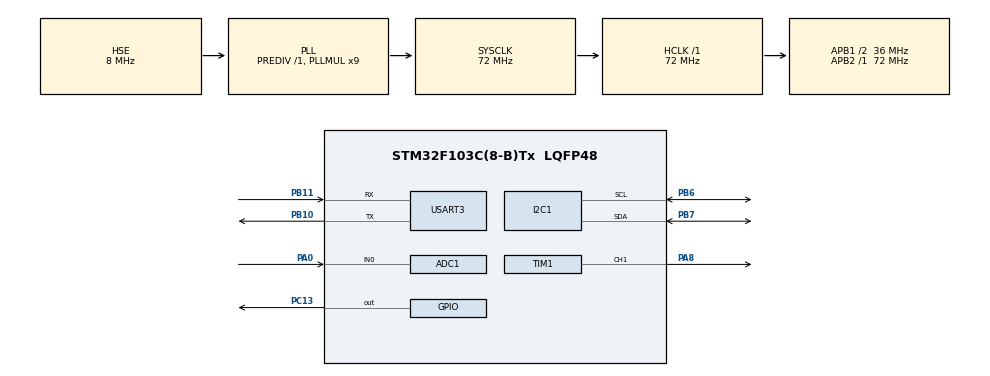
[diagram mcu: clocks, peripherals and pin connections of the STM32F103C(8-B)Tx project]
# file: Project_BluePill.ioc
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ADC1.Channel-0\#ChannelRegularConversion=ADC_CHANNEL_0
ADC1.NbrOfConversionFlag=1
ADC1.Rank-0\#ChannelRegularConversion=1
ADC1.SamplingTime-0\#ChannelRegularConversion=ADC_SAMPLETIME_1CYCLE_5
ADC1.master=1
Mcu.Family=STM32F1
Mcu.Name=STM32F103C(8-B)Tx
Mcu.Package=LQFP48
NVIC.PriorityGroup=NVIC_PRIORITYGROUP_4
NVIC.TIM1_BRK_IRQn=true\:0\:0\:false\:false\:true\:true\:true
NVIC.TIM1_CC_IRQn=true\:0\:0\:false\:false\:true\:true\:true
NVIC.TIM1_TRG_COM_IRQn=true\:0\:0\:false\:false\:true\:true\:true
NVIC.TIM1_UP_IRQn=true\:0\:0\:false\:false\:true\:true\:true
NVIC.USART3_IRQn=true\:0\:0\:false\:false\:true\:true\:true
PA0-WKUP.Signal=ADCx_IN0
PA13.Mode=Serial_Wire
PA13.Signal=SYS_JTMS-SWDIO
PA14.Mode=Serial_Wire
PA14.Signal=SYS_JTCK-SWCLK
PA8.Signal=S_TIM1_CH1
PB10.Mode=Asynchronous
PB10.Signal=USART3_TX
PB11.Mode=Asynchronous
PB11.Signal=USART3_RX
PB6.Mode=I2C
PB6.Signal=I2C1_SCL
PB7.Mode=I2C
PB7.Signal=I2C1_SDA
PC13-TAMPER-RTC.Signal=GPIO_Output
PC14-OSC32_IN.Mode=LSE-External-Oscillator
PC14-OSC32_IN.Signal=RCC_OSC32_IN
PC15-OSC32_OUT.Mode=LSE-External-Oscillator
PC15-OSC32_OUT.Signal=RCC_OSC32_OUT
PD0-OSC_IN.Mode=HSE-External-Oscillator
PD0-OSC_IN.Signal=RCC_OSC_IN
PD1-OSC_OUT.Mode=HSE-External-Oscillator
PD1-OSC_OUT.Signal=RCC_OSC_OUT
ProjectManager.HeapSize=0x200
ProjectManager.StackSize=0x400
ProjectManager.TargetToolchain=TrueSTUDIO
RCC.ADCPresc=RCC_ADCPCLK2_DIV6
RCC.AHBFreq_Value=72000000
RCC.APB1CLKDivider=RCC_HCLK_DIV2
RCC.APB1Freq_Value=36000000
RCC.APB1TimFreq_Value=72000000
RCC.APB2Freq_Value=72000000
RCC.APB2TimFreq_Value=72000000
RCC.HCLKFreq_Value=72000000
RCC.PLLMUL=RCC_PLL_MUL9
RCC.PLLSourceVirtual=RCC_PLLSOURCE_HSE
RCC.SYSCLKFreq_VALUE=72000000
RCC.SYSCLKSource=RCC_SYSCLKSOURCE_PLLCLK
RCC.USBFreq_Value=72000000
SH.ADCx_IN0.0=ADC1_IN0,IN0
SH.S_TIM1_CH1.0=TIM1_CH1,PWM Generation1 CH1
TIM1.Channel-PWM\ Generation1\ CH1=TIM_CHANNEL_1
TIM1.Period=1000-1
TIM1.Prescaler=1440-1
USART3.VirtualMode=VM_ASYNC
VP_TIM1_VS_ClockSourceINT.Mode=Internal
board=custom

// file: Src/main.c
/* USER CODE BEGIN Header */
/**
  ******************************************************************************
  * @file           : main.c
  * @brief          : Main program body
  ******************************************************************************
  * @attention
  *
  * <h2><center>&copy; Copyright (c) 2022 STMicroelectronics.
  * All rights reserved.</center></h2>
  *
  * This software component is licensed by ST under BSD 3-Clause license,
  * the "License"; You may not use this file except in compliance with the
  * License. You may obtain a copy of the License at:
  *                        opensource.org/licenses/BSD-3-Clause
  *
  ******************************************************************************
  */
/* USER CODE END Header */
#include "main.h"

/* USER CODE BEGIN Includes */
#include "stdio.h"
#include "stdlib.h"
#include "i2c-lcd.h"
/* USER CODE END Includes */

ADC_HandleTypeDef hadc1;

I2C_HandleTypeDef hi2c1;

TIM_HandleTypeDef htim1;

UART_HandleTypeDef huart3;

/* USER CODE BEGIN PV */
unsigned char send_data = 'x';
unsigned char receive_data_itr;
/* USER CODE END PV */

void SystemClock_Config(void);
static void MX_GPIO_Init(void);
static void MX_ADC1_Init(void);
static void MX_I2C1_Init(void);
static void MX_TIM1_Init(void);
static void MX_USART3_UART_Init(void);

/* USER CODE BEGIN 0 */
void HAL_UART_RxCpltCallback(UART_HandleTypeDef *huart)
{
	 if(huart->Instance == USART3)
	 {
		 if (receive_data_itr == 'b')
		 {
			 htim1.Instance->CCR1 = 25;
		 }
		 if (receive_data_itr == 'c')
		 {
			 htim1.Instance->CCR1 = 125;
		 }
	 }
	 HAL_UART_Receive_IT(&huart3, &receive_data_itr, sizeof(receive_data_itr));
}

uint16_t filter(int sensor)
{
	int filterArray[20];
	for (int sample = 0; sample < 20; sample++)
	{
		if (sensor>900)
		{
			filterArray[sample] = HAL_ADC_GetValue(&hadc1);
		}
		else
		{
			filterArray[sample] = 0;
		}
		HAL_Delay(5);
	}
	for (int i = 0; i < 19; i++)
	{
		  for (int j = i + 1; j < 20; j++)
		  {
			if (filterArray[i] > filterArray[j])
			{
			  int swap = filterArray[i];
			  filterArray[i] = filterArray[j];
			  filterArray[j] = swap;
			}
		  }
	}
	  long sum = 0;
	  for (int sample = 5; sample < 15; sample++)
	  {
		sum += filterArray[sample];
	  }

	  uint16_t avg_value = sum / 10;
	  return avg_value;
}
/* USER CODE END 0 */

int main(void)
{

  /* MCU Configuration--------------------------------------------------------*/

  /* Reset of all peripherals, Initializes the Flash interface and the Systick. */
  HAL_Init();

  /* Configure the system clock */
  SystemClock_Config();

  /* Initialize all configured peripherals */
  MX_GPIO_Init();
  MX_ADC1_Init();
  MX_I2C1_Init();
  MX_TIM1_Init();
  MX_USART3_UART_Init();
  /* USER CODE BEGIN 2 */
  HAL_TIM_PWM_Start(&htim1,TIM_CHANNEL_1);

  HAL_Delay(1000);
  lcd_init();
  HAL_ADCEx_Calibration_Start(&hadc1);
  uint16_t value;
  uint16_t avg_value;
  unsigned char target[5];
  unsigned char origin[5];

  HAL_UART_Receive_IT(&huart3, &receive_data_itr, sizeof(receive_data_itr));
  /* USER CODE END 2 */

  /* Infinite loop */
  while (1)
  {

    /* USER CODE BEGIN 3 */
	  HAL_ADC_Start(&hadc1);
	  HAL_ADC_PollForConversion(&hadc1, 1000);
	  value = HAL_ADC_GetValue(&hadc1);

	  // loc mem
	  avg_value = filter(HAL_ADC_GetValue(&hadc1));
	  //

	  sprintf(target, "%d\n", avg_value);
	  sprintf(origin, "%d\n", value);
	  lcd_goto_XY(0,0);
	  lcd_send_string("Da_loc:");
	  lcd_send_string(target);
	  lcd_goto_XY(1,0);
	  lcd_send_string("Chua_loc:");
	  lcd_send_string(origin);

	  //htim1.Instance->CCR1 = 25;
	  if (receive_data_itr == 'a' || receive_data_itr == 'b' || receive_data_itr == 'c')
	  {
		 continue;
	  }

	  HAL_UART_Transmit(&huart3, &origin, sizeof(origin) ,100);

	  if (avg_value > 1200)
	  {
		  htim1.Instance->CCR1 = 125;
		  //HAL_UART_Transmit(&huart3, &send_data, sizeof(send_data) ,100);
		  HAL_Delay(500);
	  }
	  else
	  {
		  htim1.Instance->CCR1 = 25;
		  HAL_Delay(500);
	  }
	  HAL_Delay(512);
  }
  /* USER CODE END 3 */
}

void SystemClock_Config(void)
{
  RCC_OscInitTypeDef RCC_OscInitStruct = {0};
  RCC_ClkInitTypeDef RCC_ClkInitStruct = {0};
  RCC_PeriphCLKInitTypeDef PeriphClkInit = {0};

  /** Initializes the RCC Oscillators according to the specified parameters
  * in the RCC_OscInitTypeDef structure.
  */
  RCC_OscInitStruct.OscillatorType = RCC_OSCILLATORTYPE_HSE;
  RCC_OscInitStruct.HSEState = RCC_HSE_ON;
  RCC_OscInitStruct.HSEPredivValue = RCC_HSE_PREDIV_DIV1;
  RCC_OscInitStruct.HSIState = RCC_HSI_ON;
  RCC_OscInitStruct.PLL.PLLState = RCC_PLL_ON;
  RCC_OscInitStruct.PLL.PLLSource = RCC_PLLSOURCE_HSE;
  RCC_OscInitStruct.PLL.PLLMUL = RCC_PLL_MUL9;
  if (HAL_RCC_OscConfig(&RCC_OscInitStruct) != HAL_OK)
  {
    Error_Handler();
  }
  /** Initializes the CPU, AHB and APB buses clocks
  */
  RCC_ClkInitStruct.ClockType = RCC_CLOCKTYPE_HCLK|RCC_CLOCKTYPE_SYSCLK
                              |RCC_CLOCKTYPE_PCLK1|RCC_CLOCKTYPE_PCLK2;
  RCC_ClkInitStruct.SYSCLKSource = RCC_SYSCLKSOURCE_PLLCLK;
  RCC_ClkInitStruct.AHBCLKDivider = RCC_SYSCLK_DIV1;
  RCC_ClkInitStruct.APB1CLKDivider = RCC_HCLK_DIV2;
  RCC_ClkInitStruct.APB2CLKDivider = RCC_HCLK_DIV1;

  if (HAL_RCC_ClockConfig(&RCC_ClkInitStruct, FLASH_LATENCY_2) != HAL_OK)
  {
    Error_Handler();
  }
  PeriphClkInit.PeriphClockSelection = RCC_PERIPHCLK_ADC;
  PeriphClkInit.AdcClockSelection = RCC_ADCPCLK2_DIV6;
  if (HAL_RCCEx_PeriphCLKConfig(&PeriphClkInit) != HAL_OK)
  {
    Error_Handler();
  }
}

static void MX_ADC1_Init(void)
{

  ADC_ChannelConfTypeDef sConfig = {0};

  /** Common config
  */
  hadc1.Instance = ADC1;
  hadc1.Init.ScanConvMode = ADC_SCAN_DISABLE;
  hadc1.Init.ContinuousConvMode = DISABLE;
  hadc1.Init.DiscontinuousConvMode = DISABLE;
  hadc1.Init.ExternalTrigConv = ADC_SOFTWARE_START;
  hadc1.Init.DataAlign = ADC_DATAALIGN_RIGHT;
  hadc1.Init.NbrOfConversion = 1;
  if (HAL_ADC_Init(&hadc1) != HAL_OK)
  {
    Error_Handler();
  }
  /** Configure Regular Channel
  */
  sConfig.Channel = ADC_CHANNEL_0;
  sConfig.Rank = ADC_REGULAR_RANK_1;
  sConfig.SamplingTime = ADC_SAMPLETIME_1CYCLE_5;
  if (HAL_ADC_ConfigChannel(&hadc1, &sConfig) != HAL_OK)
  {
    Error_Handler();
  }

}

static void MX_I2C1_Init(void)
{

  hi2c1.Instance = I2C1;
  hi2c1.Init.ClockSpeed = 100000;
  hi2c1.Init.DutyCycle = I2C_DUTYCYCLE_2;
  hi2c1.Init.OwnAddress1 = 0;
  hi2c1.Init.AddressingMode = I2C_ADDRESSINGMODE_7BIT;
  hi2c1.Init.DualAddressMode = I2C_DUALADDRESS_DISABLE;
  hi2c1.Init.OwnAddress2 = 0;
  hi2c1.Init.GeneralCallMode = I2C_GENERALCALL_DISABLE;
  hi2c1.Init.NoStretchMode = I2C_NOSTRETCH_DISABLE;
  if (HAL_I2C_Init(&hi2c1) != HAL_OK)
  {
    Error_Handler();
  }

}

static void MX_TIM1_Init(void)
{

  TIM_ClockConfigTypeDef sClockSourceConfig = {0};
  TIM_MasterConfigTypeDef sMasterConfig = {0};
  TIM_OC_InitTypeDef sConfigOC = {0};
  TIM_BreakDeadTimeConfigTypeDef sBreakDeadTimeConfig = {0};

  htim1.Instance = TIM1;
  htim1.Init.Prescaler = 1440-1;
  htim1.Init.CounterMode = TIM_COUNTERMODE_UP;
  htim1.Init.Period = 1000-1;
  htim1.Init.ClockDivision = TIM_CLOCKDIVISION_DIV1;
  htim1.Init.RepetitionCounter = 0;
  htim1.Init.AutoReloadPreload = TIM_AUTORELOAD_PRELOAD_DISABLE;
  if (HAL_TIM_Base_Init(&htim1) != HAL_OK)
  {
    Error_Handler();
  }
  sClockSourceConfig.ClockSource = TIM_CLOCKSOURCE_INTERNAL;
  if (HAL_TIM_ConfigClockSource(&htim1, &sClockSourceConfig) != HAL_OK)
  {
    Error_Handler();
  }
  if (HAL_TIM_PWM_Init(&htim1) != HAL_OK)
  {
    Error_Handler();
  }
  sMasterConfig.MasterOutputTrigger = TIM_TRGO_RESET;
  sMasterConfig.MasterSlaveMode = TIM_MASTERSLAVEMODE_DISABLE;
  if (HAL_TIMEx_MasterConfigSynchronization(&htim1, &sMasterConfig) != HAL_OK)
  {
    Error_Handler();
  }
  sConfigOC.OCMode = TIM_OCMODE_PWM1;
  sConfigOC.Pulse = 0;
  sConfigOC.OCPolarity = TIM_OCPOLARITY_HIGH;
  sConfigOC.OCNPolarity = TIM_OCNPOLARITY_HIGH;
  sConfigOC.OCFastMode = TIM_OCFAST_DISABLE;
  sConfigOC.OCIdleState = TIM_OCIDLESTATE_RESET;
  sConfigOC.OCNIdleState = TIM_OCNIDLESTATE_RESET;
  if (HAL_TIM_PWM_ConfigChannel(&htim1, &sConfigOC, TIM_CHANNEL_1) != HAL_OK)
  {
    Error_Handler();
  }
  sBreakDeadTimeConfig.OffStateRunMode = TIM_OSSR_DISABLE;
  sBreakDeadTimeConfig.OffStateIDLEMode = TIM_OSSI_DISABLE;
  sBreakDeadTimeConfig.LockLevel = TIM_LOCKLEVEL_OFF;
  sBreakDeadTimeConfig.DeadTime = 0;
  sBreakDeadTimeConfig.BreakState = TIM_BREAK_DISABLE;
  sBreakDeadTimeConfig.BreakPolarity = TIM_BREAKPOLARITY_HIGH;
  sBreakDeadTimeConfig.AutomaticOutput = TIM_AUTOMATICOUTPUT_DISABLE;
  if (HAL_TIMEx_ConfigBreakDeadTime(&htim1, &sBreakDeadTimeConfig) != HAL_OK)
  {
    Error_Handler();
  }
  HAL_TIM_MspPostInit(&htim1);

}

static void MX_USART3_UART_Init(void)
{

  huart3.Instance = USART3;
  huart3.Init.BaudRate = 115200;
  huart3.Init.WordLength = UART_WORDLENGTH_8B;
  huart3.Init.StopBits = UART_STOPBITS_1;
  huart3.Init.Parity = UART_PARITY_NONE;
  huart3.Init.Mode = UART_MODE_TX_RX;
  huart3.Init.HwFlowCtl = UART_HWCONTROL_NONE;
  huart3.Init.OverSampling = UART_OVERSAMPLING_16;
  if (HAL_UART_Init(&huart3) != HAL_OK)
  {
    Error_Handler();
  }

}

static void MX_GPIO_Init(void)
{
  GPIO_InitTypeDef GPIO_InitStruct = {0};

  /* GPIO Ports Clock Enable */
  __HAL_RCC_GPIOC_CLK_ENABLE();
  __HAL_RCC_GPIOD_CLK_ENABLE();
  __HAL_RCC_GPIOA_CLK_ENABLE();
  __HAL_RCC_GPIOB_CLK_ENABLE();

  /*Configure GPIO pin Output Level */
  HAL_GPIO_WritePin(GPIOC, GPIO_PIN_13, GPIO_PIN_RESET);

  /*Configure GPIO pin : PC13 */
  GPIO_InitStruct.Pin = GPIO_PIN_13;
  GPIO_InitStruct.Mode = GPIO_MODE_OUTPUT_PP;
  GPIO_InitStruct.Pull = GPIO_NOPULL;
  GPIO_InitStruct.Speed = GPIO_SPEED_FREQ_LOW;
  HAL_GPIO_Init(GPIOC, &GPIO_InitStruct);

}

void Error_Handler(void)
{
  __disable_irq();
  while (1)
  {
  }
}

/************************ (C) COPYRIGHT STMicroelectronics *****END OF FILE****/
